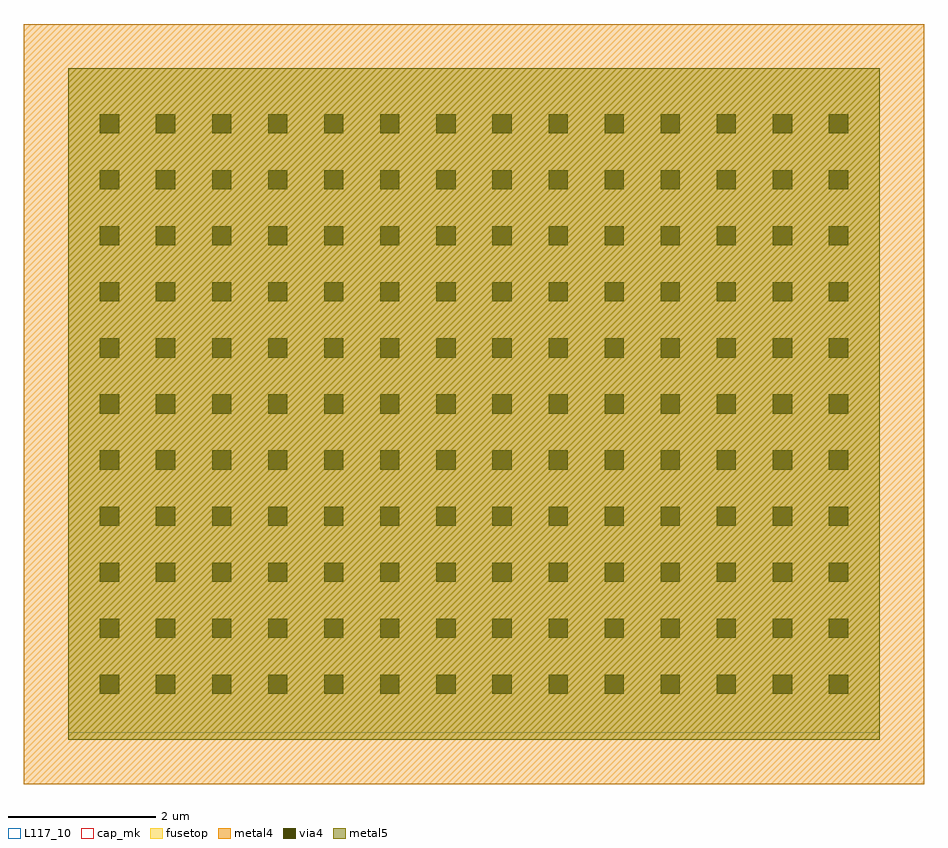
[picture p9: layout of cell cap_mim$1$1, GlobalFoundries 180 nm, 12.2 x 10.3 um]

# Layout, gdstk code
import gdstk
lib = gdstk.Library(unit=1e-6, precision=5e-09)
def R(c, l, rs):  # rectangles x0, y0, x1, y1
    for r in rs: c.add(gdstk.rectangle(r[:2], r[2:], *l))
def A(c, l, x, y, w, h, nx, ny, dx, dy):  # array of equal rectangles
    R(c, l, [(x+i*dx, y+j*dy, x+i*dx+w, y+j*dy+h) for i in range(nx) for j in range(ny)])
via4 = (41, 0)
metal4 = (46, 0)
fusetop = (75, 0)
metal5 = (81, 0)
cap_mk = (117, 5)
L117_10 = (117, 10)

cap_mim_1_1 = lib.new_cell('cap_mim$1$1')
A(cap_mim_1_1, via4, 0.43, 0.62, 0.26, 0.26, 14, 11, 0.76, 0.76)
R(cap_mim_1_1, metal4, [(-0.6,-0.6,11.6,9.7)])
R(cap_mim_1_1, fusetop, [(0,0,11,9.1)])
R(cap_mim_1_1, metal5, [(0,0,11,9.1)])
R(cap_mim_1_1, cap_mk, [(-0.6,-0.6,11.6,9.7)])
R(cap_mim_1_1, L117_10, [(0,0,11,0.1)])

lib.write_gds('cap_mim_1_1.gds')
